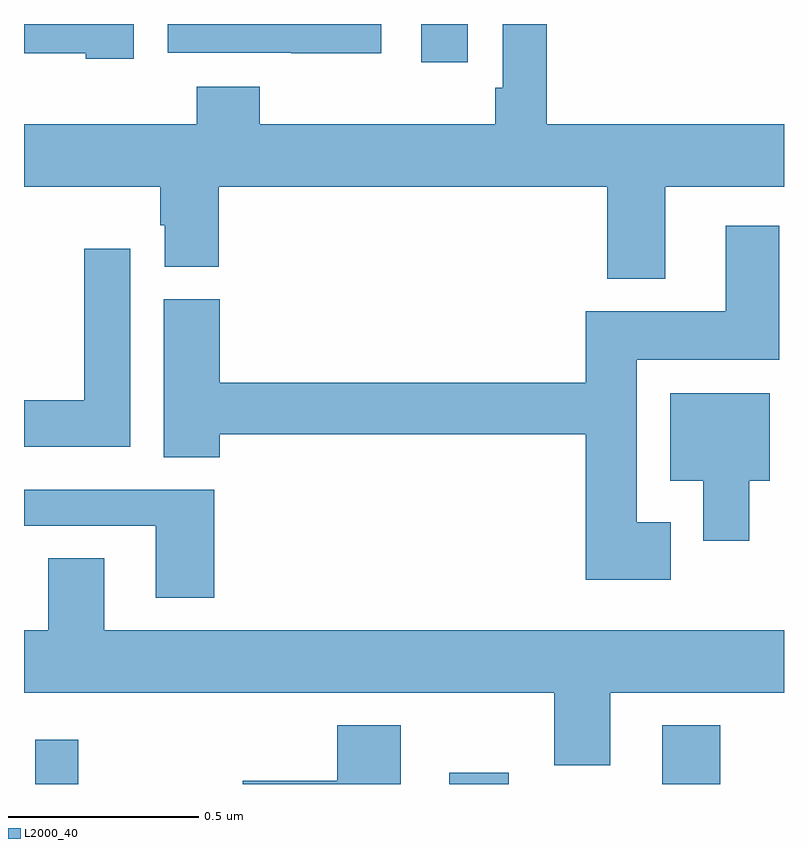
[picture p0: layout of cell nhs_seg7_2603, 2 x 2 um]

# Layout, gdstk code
import gdstk
lib = gdstk.Library(unit=1e-6, precision=1e-09)
def R(c, l, rs):  # rectangles x0, y0, x1, y1
    for r in rs: c.add(gdstk.rectangle(r[:2], r[2:], *l))
def P(c, l, *ps):  # polygons
    for p in ps: c.add(gdstk.Polygon(p, *l))
L2000_40 = (2000, 40)

nhs_seg7_2603 = lib.new_cell('nhs_seg7_2603')
R(nhs_seg7_2603, L2000_40, [(147.029,1043,147.143,1043.116), (148.119,1043,148.275,1043.029), (148.679,1043,148.832,1043.155), (148.046,1044.9,148.168,1045)])
P(nhs_seg7_2603, L2000_40, [(147.94,1045),(147.378,1045),(147.378,1044.924),(147.703,1044.924),(147.703,1044.923),(147.94,1044.923)],
  [(147.289,1045),(147,1045),(147,1044.923),(147.162,1044.923),(147.162,1044.908),(147.289,1044.908)],
  [(148.687,1044.572),(149,1044.572),(149,1044.736),(148.376,1044.736),(148.376,1045),(148.26,1045),(148.26,1044.832),(148.24,1044.832),(148.24,1044.736),(147.62,1044.736),(147.62,1044.835),(147.455,1044.835),(147.455,1044.736),(147,1044.736),(147,1044.572),(147.359,1044.572),(147.359,1044.471),(147.371,1044.471),(147.371,1044.361),(147.512,1044.361),(147.512,1044.572),(148.535,1044.572),(148.535,1044.329),(148.687,1044.329)],
  [(148.702,1043.689),(148.612,1043.689),(148.612,1044.116),(148.987,1044.116),(148.987,1044.469),(148.847,1044.469),(148.847,1044.244),(148.478,1044.244),(148.478,1044.056),(147.515,1044.056),(147.515,1044.276),(147.368,1044.276),(147.368,1043.86),(147.515,1043.86),(147.515,1043.92),(148.478,1043.92),(148.478,1043.537),(148.702,1043.537)],
  [(147.28,1044.409),(147.158,1044.409),(147.158,1044.01),(147,1044.01),(147,1043.888),(147.28,1043.888)],
  [(148.909,1043.798),(148.963,1043.798),(148.963,1044.028),(148.7,1044.028),(148.7,1043.798),(148.787,1043.798),(148.787,1043.64),(148.909,1043.64)],
  [(147.5,1043.775),(147,1043.775),(147,1043.679),(147.347,1043.679),(147.347,1043.49),(147.5,1043.49)],
  [(148.543,1043.24),(149,1043.24),(149,1043.404),(147.211,1043.404),(147.211,1043.594),(147.064,1043.594),(147.064,1043.404),(147,1043.404),(147,1043.24),(148.396,1043.24),(148.396,1043.05),(148.543,1043.05)],
  [(147.991,1043.155),(147.824,1043.155),(147.824,1043.008),(147.576,1043.008),(147.576,1043),(147.991,1043)])

lib.write_gds('nhs_seg7_2603.gds')
